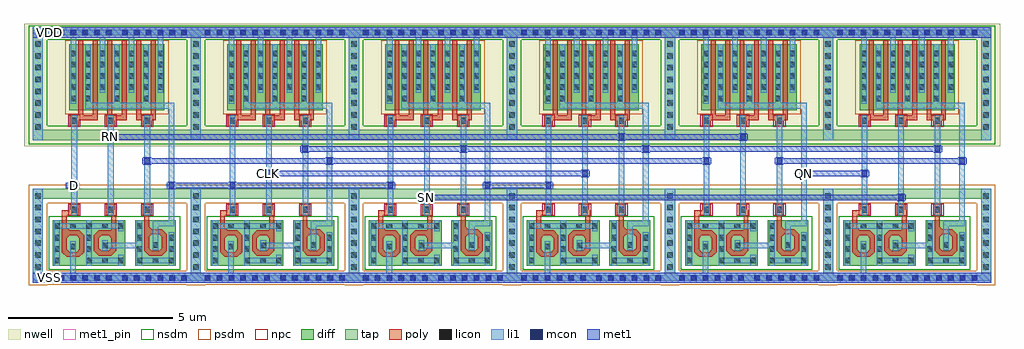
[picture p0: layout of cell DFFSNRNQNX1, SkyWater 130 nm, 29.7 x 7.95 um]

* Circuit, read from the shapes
.subckt DFFSNRNQNX1 CLK D QN RN SN VDD VSS
XM1 n1 D VSS VSS sky130_fd_pr__nfet_01v8 w=2.6 l=0.1457
XM2 n1 RN n2 VSS sky130_fd_pr__nfet_01v8 w=2.52 l=0.1448
XM3 n2 n3 n4 VSS sky130_fd_pr__nfet_01v8 w=2.56 l=0.1469
XM4 n5 n4 VSS VSS sky130_fd_pr__nfet_01v8 w=2.6 l=0.1461
XM5 n5 CLK n6 VSS sky130_fd_pr__nfet_01v8 w=2.52 l=0.1448
XM6 n6 n7 n3 VSS sky130_fd_pr__nfet_01v8 w=2.56 l=0.1469
XM7 n8 n4 VSS VSS sky130_fd_pr__nfet_01v8 w=2.6 l=0.1461
XM8 n8 SN n9 VSS sky130_fd_pr__nfet_01v8 w=2.52 l=0.1448
XM9 n9 n7 n10 VSS sky130_fd_pr__nfet_01v8 w=2.56 l=0.1469
XM10 n11 n10 VSS VSS sky130_fd_pr__nfet_01v8 w=2.6 l=0.1461
XM11 n11 CLK n12 VSS sky130_fd_pr__nfet_01v8 w=2.52 l=0.1446
XM12 n12 RN n7 VSS sky130_fd_pr__nfet_01v8 w=2.56 l=0.1469
XM13 n13 n3 VSS VSS sky130_fd_pr__nfet_01v8 w=2.6 l=0.1461
XM14 n13 RN n14 VSS sky130_fd_pr__nfet_01v8 w=2.52 l=0.1446
XM15 n14 n15 QN VSS sky130_fd_pr__nfet_01v8 w=2.56 l=0.1469
XM16 n16 QN VSS VSS sky130_fd_pr__nfet_01v8 w=2.6 l=0.1461
XM17 n16 SN n17 VSS sky130_fd_pr__nfet_01v8 w=2.52 l=0.1446
XM18 n17 n7 n15 VSS sky130_fd_pr__nfet_01v8 w=2.56 l=0.1469
XM19 n4 D VDD VDD sky130_fd_pr__pfet_01v8 w=2 l=0.15 m=2
XM20 n4 RN VDD VDD sky130_fd_pr__pfet_01v8 w=2 l=0.15 m=2
XM21 n4 n3 VDD VDD sky130_fd_pr__pfet_01v8 w=2 l=0.15 m=2
XM22 n3 n4 VDD VDD sky130_fd_pr__pfet_01v8 w=2 l=0.15 m=2
XM23 n3 CLK VDD VDD sky130_fd_pr__pfet_01v8 w=2 l=0.15 m=2
XM24 n3 n7 VDD VDD sky130_fd_pr__pfet_01v8 w=2 l=0.15 m=2
XM25 n10 n4 VDD VDD sky130_fd_pr__pfet_01v8 w=2 l=0.15 m=2
XM26 n10 SN VDD VDD sky130_fd_pr__pfet_01v8 w=2 l=0.15 m=2
XM27 n10 n7 VDD VDD sky130_fd_pr__pfet_01v8 w=2 l=0.15 m=2
XM28 n7 n10 VDD VDD sky130_fd_pr__pfet_01v8 w=2 l=0.15 m=2
XM29 n7 CLK VDD VDD sky130_fd_pr__pfet_01v8 w=2 l=0.15 m=2
XM30 n7 RN VDD VDD sky130_fd_pr__pfet_01v8 w=2 l=0.15 m=2
XM31 QN n3 VDD VDD sky130_fd_pr__pfet_01v8 w=2 l=0.15 m=2
XM32 QN RN VDD VDD sky130_fd_pr__pfet_01v8 w=2 l=0.15 m=2
XM33 QN n15 VDD VDD sky130_fd_pr__pfet_01v8 w=2 l=0.15 m=2
XM34 n15 QN VDD VDD sky130_fd_pr__pfet_01v8 w=2 l=0.15 m=2
XM35 n15 SN VDD VDD sky130_fd_pr__pfet_01v8 w=2 l=0.15 m=2
XM36 n15 n7 VDD VDD sky130_fd_pr__pfet_01v8 w=2 l=0.15 m=2
.ends

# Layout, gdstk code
import gdstk
lib = gdstk.Library(unit=1e-6, precision=1e-09)
def R(c, l, rs):  # rectangles x0, y0, x1, y1
    for r in rs: c.add(gdstk.rectangle(r[:2], r[2:], *l))
def A(c, l, x, y, w, h, nx, ny, dx, dy):  # array of equal rectangles
    R(c, l, [(x+i*dx, y+j*dy, x+i*dx+w, y+j*dy+h) for i in range(nx) for j in range(ny)])
def P(c, l, *ps):  # polygons
    for p in ps: c.add(gdstk.Polygon(p, *l))
nwell = (64, 20)
diff = (65, 20)
tap = (65, 44)
poly = (66, 20)
licon = (66, 44)
li1 = (67, 20)
mcon = (67, 44)
met1_pin = (68, 16)
met1 = (68, 20)
nsdm = (93, 44)
psdm = (94, 20)
npc = (95, 20)

dffsnrnqnx1 = lib.new_cell('DFFSNRNQNX1')
R(dffsnrnqnx1, nwell, [(-0.42,4.16,29.28,7.875)])
A(dffsnrnqnx1, diff, 0.455, 0.515, 2.21, 1.38, 6, 1, 4.81, 0)
A(dffsnrnqnx1, diff, 2.965, 0.515, 1.24, 1.38, 6, 1, 4.81, 0)
A(dffsnrnqnx1, diff, 0.955, 5.25, 2.9, 2, 6, 1, 4.81, 0)
A(dffsnrnqnx1, tap, -0.155, 0.055, 0.31, 0.01, 7, 1, 4.81, 0)
A(dffsnrnqnx1, tap, -0.155, 0.235, 0.31, 2.315, 7, 1, 4.81, 0)
A(dffsnrnqnx1, tap, -0.155, 4.65, 0.31, 2.875, 7, 1, 4.81, 0)
R(dffsnrnqnx1, tap, [(-0.155,0.065,29.015,0.235), (-0.155,2.55,29.015,2.86), (-0.155,4.34,29.015,4.65), (-0.155,7.525,29.015,7.695)])
A(dffsnrnqnx1, poly, 5.695, 0.785, 0.38, 0.035, 5, 1, 4.81, 0)
A(dffsnrnqnx1, poly, 1.86, 0.82, 0.375, 0.15, 6, 1, 4.81, 0)
A(dffsnrnqnx1, poly, 5.66, 0.82, 0.415, 0.005, 5, 1, 4.81, 0)
A(dffsnrnqnx1, poly, 3.395, 0.825, 0.38, 0.15, 6, 1, 4.81, 0)
A(dffsnrnqnx1, poly, 5.655, 0.825, 0.42, 0.11, 5, 1, 4.81, 0)
A(dffsnrnqnx1, poly, 0.735, 1.44, 0.53, 0.15, 6, 1, 4.81, 0)
A(dffsnrnqnx1, poly, 1.86, 1.44, 0.525, 0.15, 6, 1, 4.81, 0)
A(dffsnrnqnx1, poly, 3.245, 1.48, 0.53, 0.15, 6, 1, 4.81, 0)
A(dffsnrnqnx1, poly, 3.245, 1.63, 0.15, 0.425, 6, 1, 4.81, 0)
A(dffsnrnqnx1, poly, 0.735, 2.055, 0.51, 0.15, 6, 1, 4.81, 0)
A(dffsnrnqnx1, poly, 2.085, 2.055, 0.3, 0.15, 6, 1, 4.81, 0)
A(dffsnrnqnx1, poly, 3.195, 2.055, 0.27, 0.33, 6, 1, 4.81, 0)
A(dffsnrnqnx1, poly, 0.975, 4.765, 0.27, 0.18, 3, 1, 1.11, 0)
A(dffsnrnqnx1, poly, 5.785, 4.765, 0.27, 0.18, 3, 1, 1.11, 0)
A(dffsnrnqnx1, poly, 10.595, 4.765, 0.27, 0.18, 3, 1, 1.11, 0)
A(dffsnrnqnx1, poly, 15.405, 4.765, 0.27, 0.18, 3, 1, 1.11, 0)
A(dffsnrnqnx1, poly, 20.215, 4.765, 0.27, 0.18, 3, 1, 1.11, 0)
A(dffsnrnqnx1, poly, 25.025, 4.765, 0.27, 0.18, 3, 1, 1.11, 0)
A(dffsnrnqnx1, poly, 0.975, 4.945, 0.85, 0.15, 6, 1, 4.81, 0)
A(dffsnrnqnx1, poly, 2.085, 4.945, 0.62, 0.15, 6, 1, 4.81, 0)
A(dffsnrnqnx1, poly, 2.995, 4.945, 0.59, 0.15, 6, 1, 4.81, 0)
A(dffsnrnqnx1, poly, 1.235, 5.095, 0.15, 2.285, 6, 1, 0.44, 0)
A(dffsnrnqnx1, poly, 6.045, 5.095, 0.15, 2.285, 6, 1, 0.44, 0)
A(dffsnrnqnx1, poly, 10.855, 5.095, 0.15, 2.285, 6, 1, 0.44, 0)
A(dffsnrnqnx1, poly, 15.665, 5.095, 0.15, 2.285, 6, 1, 0.44, 0)
A(dffsnrnqnx1, poly, 20.475, 5.095, 0.15, 2.285, 6, 1, 0.44, 0)
A(dffsnrnqnx1, poly, 25.285, 5.095, 0.15, 2.285, 6, 1, 0.44, 0)
R(dffsnrnqnx1, poly, [(0.885,0.785,1.265,0.935), (0.735,0.935,0.885,1.44), (1.265,0.935,1.415,1.44), (5.545,0.935,5.695,1.44), (6.075,0.935,6.225,1.44), (10.355,0.935,10.505,1.44), (10.885,0.935,11.035,1.44), (15.165,0.935,15.315,1.44), (15.695,0.935,15.845,1.44), (19.975,0.935,20.125,1.44), (20.505,0.935,20.655,1.44), (24.785,0.935,24.935,1.44), (25.315,0.935,25.465,1.44), (1.71,0.97,1.86,1.44), (2.235,0.97,2.385,1.44), (6.52,0.97,6.67,1.44), (7.045,0.97,7.195,1.44), (11.33,0.97,11.48,1.44), (11.855,0.97,12.005,1.44), (16.14,0.97,16.29,1.44), (16.665,0.97,16.815,1.44), (20.95,0.97,21.1,1.44), (21.475,0.97,21.625,1.44), (25.76,0.97,25.91,1.44), (26.285,0.97,26.435,1.44), (3.245,0.975,3.395,1.48), (3.775,0.975,3.925,1.48), (8.055,0.975,8.205,1.48), (8.585,0.975,8.735,1.48), (12.865,0.975,13.015,1.48), (13.395,0.975,13.545,1.48), (17.675,0.975,17.825,1.48), (18.205,0.975,18.355,1.48), (22.485,0.975,22.635,1.48), (23.015,0.975,23.165,1.48), (27.295,0.975,27.445,1.48), (27.825,0.975,27.975,1.48), (0.735,1.59,0.885,2.055), (2.235,1.59,2.385,2.055), (5.545,1.59,5.695,2.055), (7.045,1.59,7.195,2.055), (10.355,1.59,10.505,2.055), (11.855,1.59,12.005,2.055), (15.165,1.59,15.315,2.055), (16.665,1.59,16.815,2.055), (19.975,1.59,20.125,2.055), (21.475,1.59,21.625,2.055), (24.785,1.59,24.935,2.055), (26.285,1.59,26.435,2.055), (0.975,2.205,1.245,2.385), (2.085,2.205,2.355,2.385), (5.785,2.205,6.055,2.385), (6.895,2.205,7.165,2.385), (10.595,2.205,10.865,2.385), (11.705,2.205,11.975,2.385), (15.405,2.205,15.675,2.385), (16.515,2.205,16.785,2.385), (20.215,2.205,20.485,2.385), (21.325,2.205,21.595,2.385), (25.025,2.205,25.295,2.385), (26.135,2.205,26.405,2.385)])
P(dffsnrnqnx1, poly, [(0.885,1.67),(0.885,1.59),(0.965,1.59)],
  [(1.265,1.59),(1.265,1.44),(1.415,1.44)],
  [(0.885,1.36),(0.885,1.44),(0.965,1.44)],
  [(1.185,1.44),(1.265,1.44),(1.265,1.36)],
  [(0.885,1.015),(0.885,0.935),(0.965,0.935)],
  [(1.185,0.935),(1.265,0.935),(1.265,1.015)],
  [(0.735,0.935),(0.885,0.935),(0.885,0.785)],
  [(1.265,0.785),(1.265,0.935),(1.415,0.935)],
  [(1.71,1.44),(1.86,1.44),(1.86,1.59)],
  [(1.86,1.36),(1.86,1.44),(1.94,1.44)],
  [(2.155,1.44),(2.235,1.44),(2.235,1.36)],
  [(1.86,1.05),(1.86,0.97),(1.94,0.97)],
  [(2.155,0.97),(2.235,0.97),(2.235,1.05)],
  [(1.71,0.97),(1.86,0.97),(1.86,0.82)],
  [(2.235,0.82),(2.235,0.97),(2.385,0.97)],
  [(3.395,1.71),(3.395,1.63),(3.475,1.63)],
  [(3.775,1.63),(3.775,1.48),(3.925,1.48)],
  [(3.395,1.4),(3.395,1.48),(3.475,1.48)],
  [(3.695,1.48),(3.775,1.48),(3.775,1.4)],
  [(3.395,1.055),(3.395,0.975),(3.475,0.975)],
  [(3.695,0.975),(3.775,0.975),(3.775,1.055)],
  [(3.245,0.975),(3.395,0.975),(3.395,0.825)],
  [(3.775,0.825),(3.775,0.975),(3.925,0.975)],
  [(5.695,1.67),(5.695,1.59),(5.775,1.59)],
  [(6.075,1.59),(6.075,1.44),(6.225,1.44)],
  [(5.695,1.36),(5.695,1.44),(5.775,1.44)],
  [(5.995,1.44),(6.075,1.44),(6.075,1.36)],
  [(5.695,1.015),(5.695,0.935),(5.775,0.935)],
  [(5.995,0.935),(6.075,0.935),(6.075,1.015)],
  [(5.545,0.935),(5.655,0.935),(5.655,0.825)],
  [(5.655,0.825),(5.66,0.825),(5.66,0.82)],
  [(5.66,0.82),(5.695,0.82),(5.695,0.785)],
  [(6.075,0.785),(6.075,0.935),(6.225,0.935)],
  [(6.52,1.44),(6.67,1.44),(6.67,1.59)],
  [(6.67,1.36),(6.67,1.44),(6.75,1.44)],
  [(6.965,1.44),(7.045,1.44),(7.045,1.36)],
  [(6.67,1.05),(6.67,0.97),(6.75,0.97)],
  [(6.965,0.97),(7.045,0.97),(7.045,1.05)],
  [(6.52,0.97),(6.67,0.97),(6.67,0.82)],
  [(7.045,0.82),(7.045,0.97),(7.195,0.97)],
  [(8.205,1.71),(8.205,1.63),(8.285,1.63)],
  [(8.585,1.63),(8.585,1.48),(8.735,1.48)],
  [(8.205,1.4),(8.205,1.48),(8.285,1.48)],
  [(8.505,1.48),(8.585,1.48),(8.585,1.4)],
  [(8.205,1.055),(8.205,0.975),(8.285,0.975)],
  [(8.505,0.975),(8.585,0.975),(8.585,1.055)],
  [(8.055,0.975),(8.205,0.975),(8.205,0.825)],
  [(8.585,0.825),(8.585,0.975),(8.735,0.975)],
  [(10.505,1.67),(10.505,1.59),(10.585,1.59)],
  [(10.885,1.59),(10.885,1.44),(11.035,1.44)],
  [(10.505,1.36),(10.505,1.44),(10.585,1.44)],
  [(10.805,1.44),(10.885,1.44),(10.885,1.36)],
  [(10.505,1.015),(10.505,0.935),(10.585,0.935)],
  [(10.805,0.935),(10.885,0.935),(10.885,1.015)],
  [(10.355,0.935),(10.465,0.935),(10.465,0.825)],
  [(10.465,0.825),(10.47,0.825),(10.47,0.82)],
  [(10.47,0.82),(10.505,0.82),(10.505,0.785)],
  [(10.885,0.785),(10.885,0.935),(11.035,0.935)],
  [(11.33,1.44),(11.48,1.44),(11.48,1.59)],
  [(11.48,1.36),(11.48,1.44),(11.56,1.44)],
  [(11.775,1.44),(11.855,1.44),(11.855,1.36)],
  [(11.48,1.05),(11.48,0.97),(11.56,0.97)],
  [(11.775,0.97),(11.855,0.97),(11.855,1.05)],
  [(11.33,0.97),(11.48,0.97),(11.48,0.82)],
  [(11.855,0.82),(11.855,0.97),(12.005,0.97)],
  [(13.015,1.71),(13.015,1.63),(13.095,1.63)],
  [(13.395,1.63),(13.395,1.48),(13.545,1.48)],
  [(13.015,1.4),(13.015,1.48),(13.095,1.48)],
  [(13.315,1.48),(13.395,1.48),(13.395,1.4)],
  [(13.015,1.055),(13.015,0.975),(13.095,0.975)],
  [(13.315,0.975),(13.395,0.975),(13.395,1.055)],
  [(12.865,0.975),(13.015,0.975),(13.015,0.825)],
  [(13.395,0.825),(13.395,0.975),(13.545,0.975)],
  [(15.315,1.67),(15.315,1.59),(15.395,1.59)],
  [(15.695,1.59),(15.695,1.44),(15.845,1.44)],
  [(15.315,1.36),(15.315,1.44),(15.395,1.44)],
  [(15.615,1.44),(15.695,1.44),(15.695,1.36)],
  [(15.315,1.015),(15.315,0.935),(15.395,0.935)],
  [(15.615,0.935),(15.695,0.935),(15.695,1.015)],
  [(15.165,0.935),(15.275,0.935),(15.275,0.825)],
  [(15.275,0.825),(15.28,0.825),(15.28,0.82)],
  [(15.28,0.82),(15.315,0.82),(15.315,0.785)],
  [(15.695,0.785),(15.695,0.935),(15.845,0.935)],
  [(16.14,1.44),(16.29,1.44),(16.29,1.59)],
  [(16.29,1.36),(16.29,1.44),(16.37,1.44)],
  [(16.585,1.44),(16.665,1.44),(16.665,1.36)],
  [(16.29,1.05),(16.29,0.97),(16.37,0.97)],
  [(16.585,0.97),(16.665,0.97),(16.665,1.05)],
  [(16.14,0.97),(16.29,0.97),(16.29,0.82)],
  [(16.665,0.82),(16.665,0.97),(16.815,0.97)],
  [(17.825,1.71),(17.825,1.63),(17.905,1.63)],
  [(18.205,1.63),(18.205,1.48),(18.355,1.48)],
  [(17.825,1.4),(17.825,1.48),(17.905,1.48)],
  [(18.125,1.48),(18.205,1.48),(18.205,1.4)],
  [(17.825,1.055),(17.825,0.975),(17.905,0.975)],
  [(18.125,0.975),(18.205,0.975),(18.205,1.055)],
  [(17.675,0.975),(17.825,0.975),(17.825,0.825)],
  [(18.205,0.825),(18.205,0.975),(18.355,0.975)],
  [(20.125,1.67),(20.125,1.59),(20.205,1.59)],
  [(20.505,1.59),(20.505,1.44),(20.655,1.44)],
  [(20.125,1.36),(20.125,1.44),(20.205,1.44)],
  [(20.425,1.44),(20.505,1.44),(20.505,1.36)],
  [(20.125,1.015),(20.125,0.935),(20.205,0.935)],
  [(20.425,0.935),(20.505,0.935),(20.505,1.015)],
  [(19.975,0.935),(20.085,0.935),(20.085,0.825)],
  [(20.085,0.825),(20.09,0.825),(20.09,0.82)],
  [(20.09,0.82),(20.125,0.82),(20.125,0.785)],
  [(20.505,0.785),(20.505,0.935),(20.655,0.935)],
  [(20.95,1.44),(21.1,1.44),(21.1,1.59)],
  [(21.1,1.36),(21.1,1.44),(21.18,1.44)],
  [(21.395,1.44),(21.475,1.44),(21.475,1.36)],
  [(21.1,1.05),(21.1,0.97),(21.18,0.97)],
  [(21.395,0.97),(21.475,0.97),(21.475,1.05)],
  [(20.95,0.97),(21.1,0.97),(21.1,0.82)],
  [(21.475,0.82),(21.475,0.97),(21.625,0.97)],
  [(22.635,1.71),(22.635,1.63),(22.715,1.63)],
  [(23.015,1.63),(23.015,1.48),(23.165,1.48)],
  [(22.635,1.4),(22.635,1.48),(22.715,1.48)],
  [(22.935,1.48),(23.015,1.48),(23.015,1.4)],
  [(22.635,1.055),(22.635,0.975),(22.715,0.975)],
  [(22.935,0.975),(23.015,0.975),(23.015,1.055)],
  [(22.485,0.975),(22.635,0.975),(22.635,0.825)],
  [(23.015,0.825),(23.015,0.975),(23.165,0.975)],
  [(24.935,1.67),(24.935,1.59),(25.015,1.59)],
  [(25.315,1.59),(25.315,1.44),(25.465,1.44)],
  [(24.935,1.36),(24.935,1.44),(25.015,1.44)],
  [(25.235,1.44),(25.315,1.44),(25.315,1.36)],
  [(24.935,1.015),(24.935,0.935),(25.015,0.935)],
  [(25.235,0.935),(25.315,0.935),(25.315,1.015)],
  [(24.785,0.935),(24.895,0.935),(24.895,0.825)],
  [(24.895,0.825),(24.9,0.825),(24.9,0.82)],
  [(24.9,0.82),(24.935,0.82),(24.935,0.785)],
  [(25.315,0.785),(25.315,0.935),(25.465,0.935)],
  [(25.76,1.44),(25.91,1.44),(25.91,1.59)],
  [(25.91,1.36),(25.91,1.44),(25.99,1.44)],
  [(26.205,1.44),(26.285,1.44),(26.285,1.36)],
  [(25.91,1.05),(25.91,0.97),(25.99,0.97)],
  [(26.205,0.97),(26.285,0.97),(26.285,1.05)],
  [(25.76,0.97),(25.91,0.97),(25.91,0.82)],
  [(26.285,0.82),(26.285,0.97),(26.435,0.97)],
  [(27.445,1.71),(27.445,1.63),(27.525,1.63)],
  [(27.825,1.63),(27.825,1.48),(27.975,1.48)],
  [(27.445,1.4),(27.445,1.48),(27.525,1.48)],
  [(27.745,1.48),(27.825,1.48),(27.825,1.4)],
  [(27.445,1.055),(27.445,0.975),(27.525,0.975)],
  [(27.745,0.975),(27.825,0.975),(27.825,1.055)],
  [(27.295,0.975),(27.445,0.975),(27.445,0.825)],
  [(27.825,0.825),(27.825,0.975),(27.975,0.975)])
A(dffsnrnqnx1, licon, 0.275, 0.065, 0.17, 0.17, 6, 2, 0.36, 7.46)
A(dffsnrnqnx1, licon, 2.565, 0.065, 0.17, 0.17, 6, 2, 0.36, 7.46)
A(dffsnrnqnx1, licon, 5.085, 0.065, 0.17, 0.17, 6, 2, 0.36, 7.46)
A(dffsnrnqnx1, licon, 7.375, 0.065, 0.17, 0.17, 6, 2, 0.36, 7.46)
A(dffsnrnqnx1, licon, 9.895, 0.065, 0.17, 0.17, 6, 2, 0.36, 7.46)
A(dffsnrnqnx1, licon, 12.185, 0.065, 0.17, 0.17, 6, 2, 0.36, 7.46)
A(dffsnrnqnx1, licon, 14.705, 0.065, 0.17, 0.17, 6, 2, 0.36, 7.46)
A(dffsnrnqnx1, licon, 16.995, 0.065, 0.17, 0.17, 6, 2, 0.36, 7.46)
A(dffsnrnqnx1, licon, 19.515, 0.065, 0.17, 0.17, 6, 2, 0.36, 7.46)
A(dffsnrnqnx1, licon, 21.805, 0.065, 0.17, 0.17, 6, 2, 0.36, 7.46)
A(dffsnrnqnx1, licon, 24.325, 0.065, 0.17, 0.17, 6, 2, 0.36, 7.46)
A(dffsnrnqnx1, licon, 26.615, 0.065, 0.17, 0.17, 6, 2, 0.36, 7.46)
A(dffsnrnqnx1, licon, -0.085, 0.4, 0.17, 0.17, 7, 7, 4.81, 0.36)
A(dffsnrnqnx1, licon, 1.475, 0.595, 0.17, 0.17, 3, 1, 0.485, 0)
A(dffsnrnqnx1, licon, 3.015, 0.595, 0.17, 0.17, 3, 1, 0.485, 0)
A(dffsnrnqnx1, licon, 6.285, 0.595, 0.17, 0.17, 3, 1, 0.485, 0)
A(dffsnrnqnx1, licon, 7.825, 0.595, 0.17, 0.17, 3, 1, 0.485, 0)
A(dffsnrnqnx1, licon, 11.095, 0.595, 0.17, 0.17, 3, 1, 0.485, 0)
A(dffsnrnqnx1, licon, 12.635, 0.595, 0.17, 0.17, 3, 1, 0.485, 0)
A(dffsnrnqnx1, licon, 15.905, 0.595, 0.17, 0.17, 3, 1, 0.485, 0)
A(dffsnrnqnx1, licon, 17.445, 0.595, 0.17, 0.17, 3, 1, 0.485, 0)
A(dffsnrnqnx1, licon, 20.715, 0.595, 0.17, 0.17, 3, 1, 0.485, 0)
A(dffsnrnqnx1, licon, 22.255, 0.595, 0.17, 0.17, 3, 1, 0.485, 0)
A(dffsnrnqnx1, licon, 25.525, 0.595, 0.17, 0.17, 3, 1, 0.485, 0)
A(dffsnrnqnx1, licon, 27.065, 0.595, 0.17, 0.17, 3, 1, 0.485, 0)
A(dffsnrnqnx1, licon, 0.99, 1.02, 0.17, 0.17, 6, 1, 4.81, 0)
A(dffsnrnqnx1, licon, 1.965, 1.05, 0.17, 0.17, 6, 1, 4.81, 0)
A(dffsnrnqnx1, licon, 3.5, 1.065, 0.17, 0.17, 6, 1, 4.81, 0)
A(dffsnrnqnx1, licon, 0.505, 1.645, 0.17, 0.17, 5, 1, 0.485, 0)
A(dffsnrnqnx1, licon, 5.315, 1.645, 0.17, 0.17, 5, 1, 0.485, 0)
A(dffsnrnqnx1, licon, 10.125, 1.645, 0.17, 0.17, 5, 1, 0.485, 0)
A(dffsnrnqnx1, licon, 14.935, 1.645, 0.17, 0.17, 5, 1, 0.485, 0)
A(dffsnrnqnx1, licon, 19.745, 1.645, 0.17, 0.17, 5, 1, 0.485, 0)
A(dffsnrnqnx1, licon, 24.555, 1.645, 0.17, 0.17, 5, 1, 0.485, 0)
A(dffsnrnqnx1, licon, 1.025, 2.135, 0.17, 0.17, 3, 2, 1.11, 2.71)
A(dffsnrnqnx1, licon, 5.835, 2.135, 0.17, 0.17, 3, 2, 1.11, 2.71)
A(dffsnrnqnx1, licon, 10.645, 2.135, 0.17, 0.17, 3, 2, 1.11, 2.71)
A(dffsnrnqnx1, licon, 15.455, 2.135, 0.17, 0.17, 3, 2, 1.11, 2.71)
A(dffsnrnqnx1, licon, 20.265, 2.135, 0.17, 0.17, 3, 2, 1.11, 2.71)
A(dffsnrnqnx1, licon, 25.075, 2.135, 0.17, 0.17, 3, 2, 1.11, 2.71)
A(dffsnrnqnx1, licon, -0.085, 4.66, 0.17, 0.17, 7, 8, 4.81, 0.36)
A(dffsnrnqnx1, licon, 1.445, 5.525, 0.17, 0.17, 3, 1, 0.88, 0)
A(dffsnrnqnx1, licon, 6.255, 5.525, 0.17, 0.17, 3, 1, 0.88, 0)
A(dffsnrnqnx1, licon, 11.065, 5.525, 0.17, 0.17, 3, 1, 0.88, 0)
A(dffsnrnqnx1, licon, 15.875, 5.525, 0.17, 0.17, 3, 1, 0.88, 0)
A(dffsnrnqnx1, licon, 20.685, 5.525, 0.17, 0.17, 3, 1, 0.88, 0)
A(dffsnrnqnx1, licon, 25.495, 5.525, 0.17, 0.17, 3, 1, 0.88, 0)
A(dffsnrnqnx1, licon, 1.005, 5.87, 0.17, 0.17, 7, 4, 0.44, 0.34)
A(dffsnrnqnx1, licon, 5.815, 5.87, 0.17, 0.17, 7, 4, 0.44, 0.34)
A(dffsnrnqnx1, licon, 10.625, 5.87, 0.17, 0.17, 7, 4, 0.44, 0.34)
A(dffsnrnqnx1, licon, 15.435, 5.87, 0.17, 0.17, 7, 4, 0.44, 0.34)
A(dffsnrnqnx1, licon, 20.245, 5.87, 0.17, 0.17, 7, 4, 0.44, 0.34)
A(dffsnrnqnx1, licon, 25.055, 5.87, 0.17, 0.17, 7, 4, 0.44, 0.34)
R(dffsnrnqnx1, licon, [(0.505,0.595,0.675,0.765), (5.315,0.595,5.485,0.765), (10.125,0.595,10.295,0.765), (14.935,0.595,15.105,0.765), (19.745,0.595,19.915,0.765), (24.555,0.595,24.725,0.765), (0.505,0.945,0.675,1.115), (1.475,0.945,1.645,1.115), (3.015,0.945,3.185,1.115), (3.985,0.945,4.155,1.115), (5.315,0.945,5.485,1.115), (6.285,0.945,6.455,1.115), (7.825,0.945,7.995,1.115), (8.795,0.945,8.965,1.115), (10.125,0.945,10.295,1.115), (11.095,0.945,11.265,1.115), (12.635,0.945,12.805,1.115), (13.605,0.945,13.775,1.115), (14.935,0.945,15.105,1.115), (15.905,0.945,16.075,1.115), (17.445,0.945,17.615,1.115), (18.415,0.945,18.585,1.115), (19.745,0.945,19.915,1.115), (20.715,0.945,20.885,1.115), (22.255,0.945,22.425,1.115), (23.225,0.945,23.395,1.115), (24.555,0.945,24.725,1.115), (25.525,0.945,25.695,1.115), (27.065,0.945,27.235,1.115), (28.035,0.945,28.205,1.115), (0.505,1.285,0.675,1.455), (1.475,1.285,1.645,1.455), (3.015,1.285,3.185,1.455), (3.985,1.285,4.155,1.455), (5.315,1.285,5.485,1.455), (6.285,1.285,6.455,1.455), (7.825,1.285,7.995,1.455), (8.795,1.285,8.965,1.455), (10.125,1.285,10.295,1.455), (11.095,1.285,11.265,1.455), (12.635,1.285,12.805,1.455), (13.605,1.285,13.775,1.455), (14.935,1.285,15.105,1.455), (15.905,1.285,16.075,1.455), (17.445,1.285,17.615,1.455), (18.415,1.285,18.585,1.455), (19.745,1.285,19.915,1.455), (20.715,1.285,20.885,1.455), (22.255,1.285,22.425,1.455), (23.225,1.285,23.395,1.455), (24.555,1.285,24.725,1.455), (25.525,1.285,25.695,1.455), (27.065,1.285,27.235,1.455), (28.035,1.285,28.205,1.455), (3.015,1.645,3.185,1.815), (7.825,1.645,7.995,1.815), (12.635,1.645,12.805,1.815), (17.445,1.645,17.615,1.815), (22.255,1.645,22.425,1.815), (27.065,1.645,27.235,1.815), (1.005,5.525,1.175,5.695), (5.815,5.525,5.985,5.695), (10.625,5.525,10.795,5.695), (15.435,5.525,15.605,5.695), (20.245,5.525,20.415,5.695), (25.055,5.525,25.225,5.695)])
A(dffsnrnqnx1, li1, -0.155, 0.31, 0.31, 2.55, 7, 1, 4.81, 0)
A(dffsnrnqnx1, li1, 0.99, 0.31, 0.17, 0.96, 6, 1, 4.81, 0)
A(dffsnrnqnx1, li1, 0.505, 0.515, 0.17, 1.13, 6, 1, 4.81, 0)
A(dffsnrnqnx1, li1, 1.475, 0.765, 0.17, 0.88, 6, 1, 4.81, 0)
A(dffsnrnqnx1, li1, 2.445, 0.765, 0.17, 0.08, 6, 2, 4.81, 0.8)
A(dffsnrnqnx1, li1, 3.015, 0.765, 0.17, 0.285, 6, 1, 4.81, 0)
A(dffsnrnqnx1, li1, 3.985, 0.765, 0.17, 0.77, 6, 1, 4.81, 0)
A(dffsnrnqnx1, li1, 1.965, 0.97, 0.17, 0.08, 6, 2, 4.81, 0.25)
A(dffsnrnqnx1, li1, 3.5, 0.985, 0.17, 0.735, 6, 1, 4.81, 0)
A(dffsnrnqnx1, li1, 1.965, 1.05, 1.22, 0.17, 6, 1, 4.81, 0)
A(dffsnrnqnx1, li1, 3.015, 1.22, 0.17, 0.675, 6, 1, 4.81, 0)
A(dffsnrnqnx1, li1, 0.505, 1.645, 2.11, 0.17, 6, 1, 4.81, 0)
A(dffsnrnqnx1, li1, 3.5, 1.72, 0.655, 0.17, 6, 1, 4.81, 0)
A(dffsnrnqnx1, li1, 0.505, 1.815, 0.17, 0.08, 3, 1, 0.97, 0)
A(dffsnrnqnx1, li1, 5.315, 1.815, 0.17, 0.08, 3, 1, 0.97, 0)
A(dffsnrnqnx1, li1, 10.125, 1.815, 0.17, 0.08, 3, 1, 0.97, 0)
A(dffsnrnqnx1, li1, 14.935, 1.815, 0.17, 0.08, 3, 1, 0.97, 0)
A(dffsnrnqnx1, li1, 19.745, 1.815, 0.17, 0.08, 3, 1, 0.97, 0)
A(dffsnrnqnx1, li1, 24.555, 1.815, 0.17, 0.08, 3, 1, 0.97, 0)
A(dffsnrnqnx1, li1, 3.985, 1.89, 0.17, 3.41, 6, 1, 4.81, 0)
A(dffsnrnqnx1, li1, 1.025, 2.055, 0.17, 3.04, 3, 1, 1.11, 0)
A(dffsnrnqnx1, li1, 10.645, 2.055, 0.17, 3.04, 3, 1, 1.11, 0)
A(dffsnrnqnx1, li1, 15.455, 2.055, 0.17, 3.04, 3, 1, 1.11, 0)
A(dffsnrnqnx1, li1, 20.265, 2.055, 0.17, 3.04, 3, 1, 1.11, 0)
A(dffsnrnqnx1, li1, 25.075, 2.055, 0.17, 3.04, 3, 1, 1.11, 0)
A(dffsnrnqnx1, li1, -0.155, 4.34, 0.31, 3.12, 7, 1, 4.81, 0)
A(dffsnrnqnx1, li1, 1.445, 5.3, 2.71, 0.17, 6, 1, 4.81, 0)
A(dffsnrnqnx1, li1, 1.005, 5.445, 0.17, 2.015, 6, 1, 4.81, 0)
A(dffsnrnqnx1, li1, 1.445, 5.47, 0.17, 1.78, 3, 1, 0.88, 0)
A(dffsnrnqnx1, li1, 6.255, 5.47, 0.17, 1.78, 3, 1, 0.88, 0)
A(dffsnrnqnx1, li1, 11.065, 5.47, 0.17, 1.78, 3, 1, 0.88, 0)
A(dffsnrnqnx1, li1, 15.875, 5.47, 0.17, 1.78, 3, 1, 0.88, 0)
A(dffsnrnqnx1, li1, 20.685, 5.47, 0.17, 1.78, 3, 1, 0.88, 0)
A(dffsnrnqnx1, li1, 25.495, 5.47, 0.17, 1.78, 3, 1, 0.88, 0)
A(dffsnrnqnx1, li1, 1.885, 5.785, 0.17, 1.675, 3, 1, 0.88, 0)
A(dffsnrnqnx1, li1, 6.695, 5.785, 0.17, 1.675, 3, 1, 0.88, 0)
A(dffsnrnqnx1, li1, 11.505, 5.785, 0.17, 1.675, 3, 1, 0.88, 0)
A(dffsnrnqnx1, li1, 16.315, 5.785, 0.17, 1.675, 3, 1, 0.88, 0)
A(dffsnrnqnx1, li1, 21.125, 5.785, 0.17, 1.675, 3, 1, 0.88, 0)
A(dffsnrnqnx1, li1, 25.935, 5.785, 0.17, 1.675, 3, 1, 0.88, 0)
R(dffsnrnqnx1, li1, [(-0.155,0,29.015,0.31), (1.475,0.515,1.645,0.595), (2.445,0.515,2.615,0.595), (3.015,0.515,3.185,0.595), (3.985,0.515,4.155,0.595), (6.285,0.515,6.455,0.595), (7.255,0.515,7.425,0.595), (7.825,0.515,7.995,0.595), (8.795,0.515,8.965,0.595), (11.095,0.515,11.265,0.595), (12.065,0.515,12.235,0.595), (12.635,0.515,12.805,0.595), (13.605,0.515,13.775,0.595), (15.905,0.515,16.075,0.595), (16.875,0.515,17.045,0.595), (17.445,0.515,17.615,0.595), (18.415,0.515,18.585,0.595), (20.715,0.515,20.885,0.595), (21.685,0.515,21.855,0.595), (22.255,0.515,22.425,0.595), (23.225,0.515,23.395,0.595), (25.525,0.515,25.695,0.595), (26.495,0.515,26.665,0.595), (27.065,0.515,27.235,0.595), (28.035,0.515,28.205,0.595), (1.475,0.595,2.615,0.765), (3.015,0.595,4.155,0.765), (6.285,0.595,7.425,0.765), (7.825,0.595,8.965,0.765), (11.095,0.595,12.235,0.765), (12.635,0.595,13.775,0.765), (15.905,0.595,17.045,0.765), (17.445,0.595,18.585,0.765), (20.715,0.595,21.855,0.765), (22.255,0.595,23.395,0.765), (25.525,0.595,26.665,0.765), (27.065,0.595,28.205,0.765), (5.835,2.055,6.005,5.095), (6.945,2.055,7.115,5.095), (8.055,2.055,8.225,3.905), (8.05,3.905,8.225,4.235), (8.055,4.235,8.225,5.095), (-0.155,7.46,29.015,7.77)])
A(dffsnrnqnx1, mcon, 0.275, 0.065, 0.17, 0.17, 6, 2, 0.36, 7.46)
A(dffsnrnqnx1, mcon, 2.565, 0.065, 0.17, 0.17, 6, 2, 0.36, 7.46)
A(dffsnrnqnx1, mcon, 5.085, 0.065, 0.17, 0.17, 6, 2, 0.36, 7.46)
A(dffsnrnqnx1, mcon, 7.375, 0.065, 0.17, 0.17, 6, 2, 0.36, 7.46)
A(dffsnrnqnx1, mcon, 9.895, 0.065, 0.17, 0.17, 6, 2, 0.36, 7.46)
A(dffsnrnqnx1, mcon, 12.185, 0.065, 0.17, 0.17, 6, 2, 0.36, 7.46)
A(dffsnrnqnx1, mcon, 14.705, 0.065, 0.17, 0.17, 6, 2, 0.36, 7.46)
A(dffsnrnqnx1, mcon, 16.995, 0.065, 0.17, 0.17, 6, 2, 0.36, 7.46)
A(dffsnrnqnx1, mcon, 19.515, 0.065, 0.17, 0.17, 6, 2, 0.36, 7.46)
A(dffsnrnqnx1, mcon, 21.805, 0.065, 0.17, 0.17, 6, 2, 0.36, 7.46)
A(dffsnrnqnx1, mcon, 24.325, 0.065, 0.17, 0.17, 6, 2, 0.36, 7.46)
A(dffsnrnqnx1, mcon, 26.615, 0.065, 0.17, 0.17, 6, 2, 0.36, 7.46)
R(dffsnrnqnx1, mcon, [(26.185,2.505,26.355,2.675), (11.755,2.51,11.925,2.68), (1.025,2.875,1.195,3.045), (13.605,2.875,13.775,3.045), (15.455,2.875,15.625,3.045), (3.985,2.88,4.155,3.05), (5.835,2.88,6.005,3.05), (10.645,2.88,10.815,3.05), (6.945,3.245,7.115,3.415), (16.565,3.245,16.735,3.415), (23.225,3.245,23.395,3.415), (25.075,3.245,25.245,3.415), (3.245,3.615,3.415,3.785), (8.795,3.615,8.965,3.785), (20.265,3.615,20.435,3.785), (22.485,3.615,22.655,3.785), (28.035,3.615,28.205,3.785), (8.05,3.985,8.22,4.155), (12.865,3.985,13.035,4.155), (18.415,3.985,18.585,4.155), (27.295,3.985,27.465,4.155), (2.135,4.355,2.305,4.525), (17.675,4.355,17.845,4.525), (21.375,4.355,21.545,4.525)])
R(dffsnrnqnx1, met1_pin, [(0.275,0.065,0.445,0.235), (11.755,2.51,11.925,2.68), (1.025,2.875,1.195,3.045), (6.945,3.245,7.115,3.415), (23.225,3.245,23.395,3.415), (2.135,4.355,2.305,4.525), (0.275,7.525,0.445,7.695)])
R(dffsnrnqnx1, met1, [(-0.155,0,29.015,0.31), (26.155,2.475,26.385,2.505), (11.725,2.48,11.955,2.505), (11.725,2.505,26.415,2.51), (11.695,2.51,26.415,2.675), (11.695,2.675,12.105,2.68), (26.155,2.675,26.385,2.705), (11.725,2.68,11.955,2.71), (0.995,2.845,1.225,2.875), (13.575,2.845,13.805,2.875), (15.425,2.845,15.655,2.875), (3.955,2.85,4.185,2.88), (5.805,2.85,6.035,2.88), (10.615,2.85,10.845,2.88), (0.845,2.875,1.255,3.045), (13.545,2.875,15.685,3.045), (3.925,2.88,10.875,3.05), (0.995,3.045,1.225,3.075), (13.575,3.045,13.805,3.075), (15.425,3.045,15.655,3.075), (3.955,3.05,4.185,3.08), (5.805,3.05,6.035,3.08), (10.615,3.05,10.845,3.08), (6.915,3.215,7.145,3.245), (16.535,3.215,16.765,3.245), (23.195,3.215,23.425,3.245), (25.045,3.215,25.275,3.245), (6.885,3.245,16.795,3.415), (23.165,3.245,25.305,3.415), (6.915,3.415,7.145,3.445), (16.535,3.415,16.765,3.445), (23.195,3.415,23.425,3.445), (25.045,3.415,25.275,3.445), (3.215,3.585,3.445,3.615), (8.765,3.585,8.995,3.615), (20.235,3.585,20.465,3.615), (22.455,3.585,22.685,3.615), (28.005,3.585,28.235,3.615), (3.185,3.615,20.495,3.785), (22.425,3.615,28.265,3.785), (3.215,3.785,3.445,3.815), (8.765,3.785,8.995,3.815), (20.235,3.785,20.465,3.815), (22.455,3.785,22.685,3.815), (28.005,3.785,28.235,3.815), (8.02,3.955,8.25,3.985), (12.835,3.955,13.065,3.985), (18.385,3.955,18.615,3.985), (27.265,3.955,27.495,3.985), (7.99,3.985,27.525,4.155), (8.02,4.155,8.25,4.185), (12.835,4.155,13.065,4.185), (18.385,4.155,18.615,4.185), (27.265,4.155,27.495,4.185), (2.105,4.325,2.335,4.355), (17.645,4.325,17.875,4.355), (21.345,4.325,21.575,4.355), (2.075,4.355,21.605,4.525), (2.105,4.525,2.335,4.555), (17.645,4.525,17.875,4.555), (21.345,4.525,21.575,4.555), (-0.155,7.46,29.015,7.77)])
A(dffsnrnqnx1, nsdm, 0.33, 0.39, 4, 1.63, 6, 1, 4.81, 0)
A(dffsnrnqnx1, nsdm, -0.28, 4.775, 0.56, 2.625, 7, 1, 4.81, 0)
R(dffsnrnqnx1, nsdm, [(-0.28,4.215,29.14,4.775), (-0.28,7.4,29.14,7.82)])
A(dffsnrnqnx1, psdm, -0.28, -0.07, 0.56, 0.01, 7, 1, 4.81, 0)
A(dffsnrnqnx1, psdm, -0.28, 0.36, 0.56, 2.065, 7, 1, 4.81, 0)
A(dffsnrnqnx1, psdm, 0.83, 5.125, 3.15, 2.25, 6, 1, 4.81, 0)
R(dffsnrnqnx1, psdm, [(-0.28,-0.06,29.14,0.36), (-0.28,2.425,29.14,2.985)])
A(dffsnrnqnx1, npc, 0.925, 2.035, 0.37, 0.37, 3, 2, 1.11, 2.71)
A(dffsnrnqnx1, npc, 5.735, 2.035, 0.37, 0.37, 3, 2, 1.11, 2.71)
A(dffsnrnqnx1, npc, 10.545, 2.035, 0.37, 0.37, 3, 2, 1.11, 2.71)
A(dffsnrnqnx1, npc, 15.355, 2.035, 0.37, 0.37, 3, 2, 1.11, 2.71)
A(dffsnrnqnx1, npc, 20.165, 2.035, 0.37, 0.37, 3, 2, 1.11, 2.71)
A(dffsnrnqnx1, npc, 24.975, 2.035, 0.37, 0.37, 3, 2, 1.11, 2.71)
dffsnrnqnx1.add(gdstk.Label('QN', (23.31,3.33), layer=68, texttype=16))
dffsnrnqnx1.add(gdstk.Label('D', (1.11,2.96), layer=68, texttype=16))
dffsnrnqnx1.add(gdstk.Label('CLK', (7.03,3.33), layer=68, texttype=16))
dffsnrnqnx1.add(gdstk.Label('SN', (11.84,2.595), layer=68, texttype=16))
dffsnrnqnx1.add(gdstk.Label('RN', (2.22,4.44), layer=68, texttype=16))
dffsnrnqnx1.add(gdstk.Label('VDD', (0.36,7.61), layer=68, texttype=16))
dffsnrnqnx1.add(gdstk.Label('VSS', (0.36,0.15), layer=68, texttype=16))

lib.write_gds('DFFSNRNQNX1.gds')
